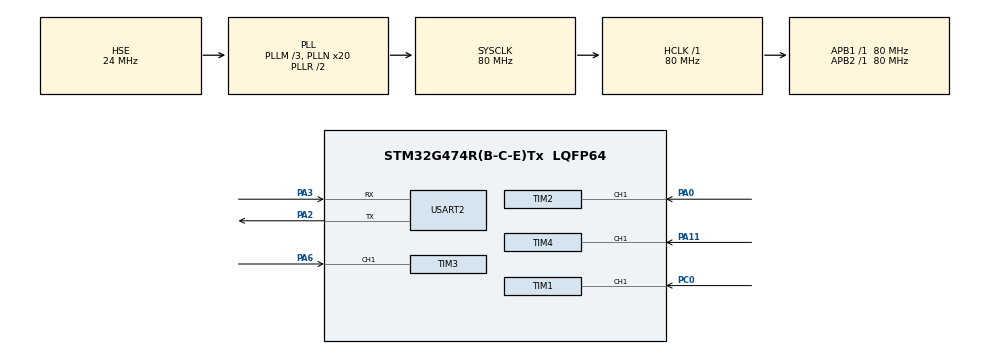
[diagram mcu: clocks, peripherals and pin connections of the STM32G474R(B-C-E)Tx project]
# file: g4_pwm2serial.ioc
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Mcu.Family=STM32G4
Mcu.Name=STM32G474R(B-C-E)Tx
Mcu.Package=LQFP64
NVIC.PriorityGroup=NVIC_PRIORITYGROUP_4
NVIC.TIM1_CC_IRQn=true\:0\:0\:false\:false\:true\:true\:true\:true
NVIC.TIM2_IRQn=true\:0\:0\:false\:false\:true\:true\:true\:true
NVIC.TIM3_IRQn=true\:0\:0\:false\:false\:true\:true\:true\:true
NVIC.TIM4_IRQn=true\:0\:0\:false\:false\:true\:true\:true\:true
PA0.Signal=S_TIM2_CH1
PA11.Signal=S_TIM4_CH1
PA2.Mode=Asynchronous
PA2.Signal=USART2_TX
PA3.Mode=Asynchronous
PA3.Signal=USART2_RX
PA6.Signal=S_TIM3_CH1
PC0.Signal=S_TIM1_CH1
PF0-OSC_IN.GPIO_Label=RCC_OSC_IN
PF0-OSC_IN.Mode=HSE-External-Oscillator
PF0-OSC_IN.Signal=RCC_OSC_IN
PF1-OSC_OUT.GPIO_Label=RCC_OSC_OUT
PF1-OSC_OUT.Mode=HSE-External-Oscillator
PF1-OSC_OUT.Signal=RCC_OSC_OUT
ProjectManager.HeapSize=0x200
ProjectManager.StackSize=0x400
ProjectManager.TargetToolchain=STM32CubeIDE
RCC.ADC12Freq_Value=80000000
RCC.ADC345Freq_Value=80000000
RCC.AHBFreq_Value=80000000
RCC.APB1Freq_Value=80000000
RCC.APB1TimFreq_Value=80000000
RCC.APB2Freq_Value=80000000
RCC.APB2TimFreq_Value=80000000
RCC.CortexFreq_Value=80000000
RCC.EXTERNAL_CLOCK_VALUE=12288000
RCC.HCLKFreq_Value=80000000
RCC.HSE_VALUE=24000000
RCC.HSI48_VALUE=48000000
RCC.HSI_VALUE=16000000
RCC.LSE_VALUE=32768
RCC.PLLM=RCC_PLLM_DIV3
RCC.PLLN=20
RCC.PLLSourceVirtual=RCC_PLLSOURCE_HSE
RCC.RTCClockSelection=RCC_RTCCLKSOURCE_LSE
RCC.SYSCLKFreq_VALUE=80000000
RCC.SYSCLKSource=RCC_SYSCLKSOURCE_PLLCLK
RCC.USBFreq_Value=80000000
RCC.VCOOutputFreq_Value=160000000
SH.S_TIM1_CH1.0=TIM1_CH1,PWM_Input_1
SH.S_TIM2_CH1.0=TIM2_CH1,PWM_Input_1
SH.S_TIM3_CH1.0=TIM3_CH1,PWM_Input_1
SH.S_TIM4_CH1.0=TIM4_CH1,PWM_Input_1
TIM1.AutoReloadPreload=TIM_AUTORELOAD_PRELOAD_ENABLE
TIM1.Prescaler=80 - 1
TIM2.AutoReloadPreload=TIM_AUTORELOAD_PRELOAD_ENABLE
TIM2.Prescaler=80 - 1
TIM3.AutoReloadPreload=TIM_AUTORELOAD_PRELOAD_ENABLE
TIM3.Prescaler=80 - 1
TIM4.AutoReloadPreload=TIM_AUTORELOAD_PRELOAD_ENABLE
TIM4.Prescaler=80 - 1
USART2.VirtualMode-Asynchronous=VM_ASYNC
VP_SYS_VS_DBSignals.Mode=DisableDeadBatterySignals
VP_TIM2_VS_ClockSourceINT.Mode=Internal
VP_TIM3_VS_ClockSourceINT.Mode=Internal
VP_TIM4_VS_ClockSourceINT.Mode=Internal
board=NUCLEO-G474RE

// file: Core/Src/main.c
/* USER CODE BEGIN Header */
/**
  ******************************************************************************
  * @file           : main.c
  * @brief          : Main program body
  ******************************************************************************
  * @attention
  *
  * Copyright (c) 2026 STMicroelectronics.
  * All rights reserved.
  *
  * This software is licensed under terms that can be found in the LICENSE file
  * in the root directory of this software component.
  * If no LICENSE file comes with this software, it is provided AS-IS.
  *
  ******************************************************************************
  */
/* USER CODE END Header */
#include "main.h"

TIM_HandleTypeDef htim1;
TIM_HandleTypeDef htim2;
TIM_HandleTypeDef htim3;
TIM_HandleTypeDef htim4;

UART_HandleTypeDef huart2;

/* USER CODE BEGIN PV */

volatile uint16_t pwm_in[4] = {0};
volatile uint8_t capture_flags = 0;
uint16_t tx_buffer[4] = {0};

/* USER CODE END PV */

void SystemClock_Config(void);
static void MX_GPIO_Init(void);
static void MX_TIM1_Init(void);
static void MX_TIM2_Init(void);
static void MX_TIM3_Init(void);
static void MX_TIM4_Init(void);
static void MX_USART2_UART_Init(void);

/* USER CODE BEGIN 0 */

void HAL_TIM_IC_CaptureCallback(TIM_HandleTypeDef *htim)
{
    if (htim->Instance == TIM1) {
        if (htim->Channel == HAL_TIM_ACTIVE_CHANNEL_1) {
            pwm_in[0] = HAL_TIM_ReadCapturedValue(htim, TIM_CHANNEL_2);
            capture_flags |= (1 << 0);
        }
    }
	else if (htim->Instance == TIM2){
        if (htim->Channel == HAL_TIM_ACTIVE_CHANNEL_1) {
            pwm_in[1] = HAL_TIM_ReadCapturedValue(htim, TIM_CHANNEL_2);
            capture_flags |= (1 << 1);
        }
    }
	else if (htim->Instance == TIM3){
        if (htim->Channel == HAL_TIM_ACTIVE_CHANNEL_1) {
            pwm_in[2] = HAL_TIM_ReadCapturedValue(htim, TIM_CHANNEL_2);
            capture_flags |= (1 << 2);
        }
    }
	else if (htim->Instance == TIM4){
        if (htim->Channel == HAL_TIM_ACTIVE_CHANNEL_1) {
            pwm_in[3] = HAL_TIM_ReadCapturedValue(htim, TIM_CHANNEL_2);
            capture_flags |= (1 << 3);
        }
    }
}

/* USER CODE END 0 */

int main(void)
{

  /* MCU Configuration--------------------------------------------------------*/

  /* Reset of all peripherals, Initializes the Flash interface and the Systick. */
  HAL_Init();

  /* Configure the system clock */
  SystemClock_Config();

  /* Initialize all configured peripherals */
  MX_GPIO_Init();
  MX_TIM1_Init();
  MX_TIM2_Init();
  MX_TIM3_Init();
  MX_TIM4_Init();
  MX_USART2_UART_Init();
  /* USER CODE BEGIN 2 */

	// Define our 2-byte Magic Number (Sync Header)
	uint8_t magic[2] = {0xAA, 0xBB};
	HAL_TIM_IC_Start_IT(&htim1, TIM_CHANNEL_1);
	HAL_TIM_IC_Start(&htim1, TIM_CHANNEL_2);
	HAL_TIM_IC_Start_IT(&htim2, TIM_CHANNEL_1);
	HAL_TIM_IC_Start(&htim2, TIM_CHANNEL_2);
	HAL_TIM_IC_Start_IT(&htim3, TIM_CHANNEL_1);
	HAL_TIM_IC_Start(&htim3, TIM_CHANNEL_2);
	HAL_TIM_IC_Start_IT(&htim4, TIM_CHANNEL_1);
	HAL_TIM_IC_Start(&htim4, TIM_CHANNEL_2);

  /* USER CODE END 2 */

  /* Infinite loop */
  /* USER CODE BEGIN WHILE */
  while (1)
  {
	if (capture_flags == 0x0F)
	{
		tx_buffer[0] = pwm_in[0];
		tx_buffer[1] = pwm_in[1];
		tx_buffer[2] = pwm_in[2];
		tx_buffer[3] = pwm_in[3];

		capture_flags = 0;

		// 1. Send the Header
		HAL_UART_Transmit(&huart2, magic, 2, HAL_MAX_DELAY);

		for (int i = 0; i < 8; i++)
			HAL_UART_Transmit(&huart2, (uint8_t*)tx_buffer + i, 1, HAL_MAX_DELAY);
	}
    /* USER CODE END WHILE */

  }
}

void SystemClock_Config(void)
{
  RCC_OscInitTypeDef RCC_OscInitStruct = {0};
  RCC_ClkInitTypeDef RCC_ClkInitStruct = {0};

  /** Configure the main internal regulator output voltage
  */
  HAL_PWREx_ControlVoltageScaling(PWR_REGULATOR_VOLTAGE_SCALE1);

  /** Initializes the RCC Oscillators according to the specified parameters
  * in the RCC_OscInitTypeDef structure.
  */
  RCC_OscInitStruct.OscillatorType = RCC_OSCILLATORTYPE_HSE;
  RCC_OscInitStruct.HSEState = RCC_HSE_ON;
  RCC_OscInitStruct.PLL.PLLState = RCC_PLL_ON;
  RCC_OscInitStruct.PLL.PLLSource = RCC_PLLSOURCE_HSE;
  RCC_OscInitStruct.PLL.PLLM = RCC_PLLM_DIV3;
  RCC_OscInitStruct.PLL.PLLN = 20;
  RCC_OscInitStruct.PLL.PLLP = RCC_PLLP_DIV2;
  RCC_OscInitStruct.PLL.PLLQ = RCC_PLLQ_DIV2;
  RCC_OscInitStruct.PLL.PLLR = RCC_PLLR_DIV2;
  if (HAL_RCC_OscConfig(&RCC_OscInitStruct) != HAL_OK)
  {
    Error_Handler();
  }

  /** Initializes the CPU, AHB and APB buses clocks
  */
  RCC_ClkInitStruct.ClockType = RCC_CLOCKTYPE_HCLK|RCC_CLOCKTYPE_SYSCLK
                              |RCC_CLOCKTYPE_PCLK1|RCC_CLOCKTYPE_PCLK2;
  RCC_ClkInitStruct.SYSCLKSource = RCC_SYSCLKSOURCE_PLLCLK;
  RCC_ClkInitStruct.AHBCLKDivider = RCC_SYSCLK_DIV1;
  RCC_ClkInitStruct.APB1CLKDivider = RCC_HCLK_DIV1;
  RCC_ClkInitStruct.APB2CLKDivider = RCC_HCLK_DIV1;

  if (HAL_RCC_ClockConfig(&RCC_ClkInitStruct, FLASH_LATENCY_2) != HAL_OK)
  {
    Error_Handler();
  }
}

static void MX_TIM1_Init(void)
{

  TIM_SlaveConfigTypeDef sSlaveConfig = {0};
  TIM_IC_InitTypeDef sConfigIC = {0};
  TIM_MasterConfigTypeDef sMasterConfig = {0};

  htim1.Instance = TIM1;
  htim1.Init.Prescaler = 80 - 1;
  htim1.Init.CounterMode = TIM_COUNTERMODE_UP;
  htim1.Init.Period = 65535;
  htim1.Init.ClockDivision = TIM_CLOCKDIVISION_DIV1;
  htim1.Init.RepetitionCounter = 0;
  htim1.Init.AutoReloadPreload = TIM_AUTORELOAD_PRELOAD_ENABLE;
  if (HAL_TIM_IC_Init(&htim1) != HAL_OK)
  {
    Error_Handler();
  }
  sSlaveConfig.SlaveMode = TIM_SLAVEMODE_RESET;
  sSlaveConfig.InputTrigger = TIM_TS_TI1FP1;
  sSlaveConfig.TriggerPolarity = TIM_INPUTCHANNELPOLARITY_RISING;
  sSlaveConfig.TriggerPrescaler = TIM_ICPSC_DIV1;
  sSlaveConfig.TriggerFilter = 0;
  if (HAL_TIM_SlaveConfigSynchro(&htim1, &sSlaveConfig) != HAL_OK)
  {
    Error_Handler();
  }
  sConfigIC.ICPolarity = TIM_INPUTCHANNELPOLARITY_RISING;
  sConfigIC.ICSelection = TIM_ICSELECTION_DIRECTTI;
  sConfigIC.ICPrescaler = TIM_ICPSC_DIV1;
  sConfigIC.ICFilter = 0;
  if (HAL_TIM_IC_ConfigChannel(&htim1, &sConfigIC, TIM_CHANNEL_1) != HAL_OK)
  {
    Error_Handler();
  }
  sConfigIC.ICPolarity = TIM_INPUTCHANNELPOLARITY_FALLING;
  sConfigIC.ICSelection = TIM_ICSELECTION_INDIRECTTI;
  if (HAL_TIM_IC_ConfigChannel(&htim1, &sConfigIC, TIM_CHANNEL_2) != HAL_OK)
  {
    Error_Handler();
  }
  sMasterConfig.MasterOutputTrigger = TIM_TRGO_RESET;
  sMasterConfig.MasterOutputTrigger2 = TIM_TRGO2_RESET;
  sMasterConfig.MasterSlaveMode = TIM_MASTERSLAVEMODE_DISABLE;
  if (HAL_TIMEx_MasterConfigSynchronization(&htim1, &sMasterConfig) != HAL_OK)
  {
    Error_Handler();
  }

}

static void MX_TIM2_Init(void)
{

  TIM_ClockConfigTypeDef sClockSourceConfig = {0};
  TIM_SlaveConfigTypeDef sSlaveConfig = {0};
  TIM_IC_InitTypeDef sConfigIC = {0};
  TIM_MasterConfigTypeDef sMasterConfig = {0};

  htim2.Instance = TIM2;
  htim2.Init.Prescaler = 80 - 1;
  htim2.Init.CounterMode = TIM_COUNTERMODE_UP;
  htim2.Init.Period = 4294967295;
  htim2.Init.ClockDivision = TIM_CLOCKDIVISION_DIV1;
  htim2.Init.AutoReloadPreload = TIM_AUTORELOAD_PRELOAD_ENABLE;
  if (HAL_TIM_Base_Init(&htim2) != HAL_OK)
  {
    Error_Handler();
  }
  sClockSourceConfig.ClockSource = TIM_CLOCKSOURCE_INTERNAL;
  if (HAL_TIM_ConfigClockSource(&htim2, &sClockSourceConfig) != HAL_OK)
  {
    Error_Handler();
  }
  if (HAL_TIM_IC_Init(&htim2) != HAL_OK)
  {
    Error_Handler();
  }
  sSlaveConfig.SlaveMode = TIM_SLAVEMODE_RESET;
  sSlaveConfig.InputTrigger = TIM_TS_TI1FP1;
  sSlaveConfig.TriggerPolarity = TIM_INPUTCHANNELPOLARITY_RISING;
  sSlaveConfig.TriggerPrescaler = TIM_ICPSC_DIV1;
  sSlaveConfig.TriggerFilter = 0;
  if (HAL_TIM_SlaveConfigSynchro(&htim2, &sSlaveConfig) != HAL_OK)
  {
    Error_Handler();
  }
  sConfigIC.ICPolarity = TIM_INPUTCHANNELPOLARITY_RISING;
  sConfigIC.ICSelection = TIM_ICSELECTION_DIRECTTI;
  sConfigIC.ICPrescaler = TIM_ICPSC_DIV1;
  sConfigIC.ICFilter = 0;
  if (HAL_TIM_IC_ConfigChannel(&htim2, &sConfigIC, TIM_CHANNEL_1) != HAL_OK)
  {
    Error_Handler();
  }
  sConfigIC.ICPolarity = TIM_INPUTCHANNELPOLARITY_FALLING;
  sConfigIC.ICSelection = TIM_ICSELECTION_INDIRECTTI;
  if (HAL_TIM_IC_ConfigChannel(&htim2, &sConfigIC, TIM_CHANNEL_2) != HAL_OK)
  {
    Error_Handler();
  }
  sMasterConfig.MasterOutputTrigger = TIM_TRGO_RESET;
  sMasterConfig.MasterSlaveMode = TIM_MASTERSLAVEMODE_DISABLE;
  if (HAL_TIMEx_MasterConfigSynchronization(&htim2, &sMasterConfig) != HAL_OK)
  {
    Error_Handler();
  }

}

static void MX_TIM3_Init(void)
{

  TIM_ClockConfigTypeDef sClockSourceConfig = {0};
  TIM_SlaveConfigTypeDef sSlaveConfig = {0};
  TIM_IC_InitTypeDef sConfigIC = {0};
  TIM_MasterConfigTypeDef sMasterConfig = {0};

  htim3.Instance = TIM3;
  htim3.Init.Prescaler = 80 - 1;
  htim3.Init.CounterMode = TIM_COUNTERMODE_UP;
  htim3.Init.Period = 65535;
  htim3.Init.ClockDivision = TIM_CLOCKDIVISION_DIV1;
  htim3.Init.AutoReloadPreload = TIM_AUTORELOAD_PRELOAD_ENABLE;
  if (HAL_TIM_Base_Init(&htim3) != HAL_OK)
  {
    Error_Handler();
  }
  sClockSourceConfig.ClockSource = TIM_CLOCKSOURCE_INTERNAL;
  if (HAL_TIM_ConfigClockSource(&htim3, &sClockSourceConfig) != HAL_OK)
  {
    Error_Handler();
  }
  if (HAL_TIM_IC_Init(&htim3) != HAL_OK)
  {
    Error_Handler();
  }
  sSlaveConfig.SlaveMode = TIM_SLAVEMODE_RESET;
  sSlaveConfig.InputTrigger = TIM_TS_TI1FP1;
  sSlaveConfig.TriggerPolarity = TIM_INPUTCHANNELPOLARITY_RISING;
  sSlaveConfig.TriggerPrescaler = TIM_ICPSC_DIV1;
  sSlaveConfig.TriggerFilter = 0;
  if (HAL_TIM_SlaveConfigSynchro(&htim3, &sSlaveConfig) != HAL_OK)
  {
    Error_Handler();
  }
  sConfigIC.ICPolarity = TIM_INPUTCHANNELPOLARITY_RISING;
  sConfigIC.ICSelection = TIM_ICSELECTION_DIRECTTI;
  sConfigIC.ICPrescaler = TIM_ICPSC_DIV1;
  sConfigIC.ICFilter = 0;
  if (HAL_TIM_IC_ConfigChannel(&htim3, &sConfigIC, TIM_CHANNEL_1) != HAL_OK)
  {
    Error_Handler();
  }
  sConfigIC.ICPolarity = TIM_INPUTCHANNELPOLARITY_FALLING;
  sConfigIC.ICSelection = TIM_ICSELECTION_INDIRECTTI;
  if (HAL_TIM_IC_ConfigChannel(&htim3, &sConfigIC, TIM_CHANNEL_2) != HAL_OK)
  {
    Error_Handler();
  }
  sMasterConfig.MasterOutputTrigger = TIM_TRGO_RESET;
  sMasterConfig.MasterSlaveMode = TIM_MASTERSLAVEMODE_DISABLE;
  if (HAL_TIMEx_MasterConfigSynchronization(&htim3, &sMasterConfig) != HAL_OK)
  {
    Error_Handler();
  }

}

static void MX_TIM4_Init(void)
{

  TIM_ClockConfigTypeDef sClockSourceConfig = {0};
  TIM_SlaveConfigTypeDef sSlaveConfig = {0};
  TIM_IC_InitTypeDef sConfigIC = {0};
  TIM_MasterConfigTypeDef sMasterConfig = {0};

  htim4.Instance = TIM4;
  htim4.Init.Prescaler = 80 - 1;
  htim4.Init.CounterMode = TIM_COUNTERMODE_UP;
  htim4.Init.Period = 65535;
  htim4.Init.ClockDivision = TIM_CLOCKDIVISION_DIV1;
  htim4.Init.AutoReloadPreload = TIM_AUTORELOAD_PRELOAD_ENABLE;
  if (HAL_TIM_Base_Init(&htim4) != HAL_OK)
  {
    Error_Handler();
  }
  sClockSourceConfig.ClockSource = TIM_CLOCKSOURCE_INTERNAL;
  if (HAL_TIM_ConfigClockSource(&htim4, &sClockSourceConfig) != HAL_OK)
  {
    Error_Handler();
  }
  if (HAL_TIM_IC_Init(&htim4) != HAL_OK)
  {
    Error_Handler();
  }
  sSlaveConfig.SlaveMode = TIM_SLAVEMODE_RESET;
  sSlaveConfig.InputTrigger = TIM_TS_TI1FP1;
  sSlaveConfig.TriggerPolarity = TIM_INPUTCHANNELPOLARITY_RISING;
  sSlaveConfig.TriggerPrescaler = TIM_ICPSC_DIV1;
  sSlaveConfig.TriggerFilter = 0;
  if (HAL_TIM_SlaveConfigSynchro(&htim4, &sSlaveConfig) != HAL_OK)
  {
    Error_Handler();
  }
  sConfigIC.ICPolarity = TIM_INPUTCHANNELPOLARITY_RISING;
  sConfigIC.ICSelection = TIM_ICSELECTION_DIRECTTI;
  sConfigIC.ICPrescaler = TIM_ICPSC_DIV1;
  sConfigIC.ICFilter = 0;
  if (HAL_TIM_IC_ConfigChannel(&htim4, &sConfigIC, TIM_CHANNEL_1) != HAL_OK)
  {
    Error_Handler();
  }
  sConfigIC.ICPolarity = TIM_INPUTCHANNELPOLARITY_FALLING;
  sConfigIC.ICSelection = TIM_ICSELECTION_INDIRECTTI;
  if (HAL_TIM_IC_ConfigChannel(&htim4, &sConfigIC, TIM_CHANNEL_2) != HAL_OK)
  {
    Error_Handler();
  }
  sMasterConfig.MasterOutputTrigger = TIM_TRGO_RESET;
  sMasterConfig.MasterSlaveMode = TIM_MASTERSLAVEMODE_DISABLE;
  if (HAL_TIMEx_MasterConfigSynchronization(&htim4, &sMasterConfig) != HAL_OK)
  {
    Error_Handler();
  }

}

static void MX_USART2_UART_Init(void)
{

  huart2.Instance = USART2;
  huart2.Init.BaudRate = 115200;
  huart2.Init.WordLength = UART_WORDLENGTH_8B;
  huart2.Init.StopBits = UART_STOPBITS_1;
  huart2.Init.Parity = UART_PARITY_NONE;
  huart2.Init.Mode = UART_MODE_TX_RX;
  huart2.Init.HwFlowCtl = UART_HWCONTROL_NONE;
  huart2.Init.OverSampling = UART_OVERSAMPLING_16;
  huart2.Init.OneBitSampling = UART_ONE_BIT_SAMPLE_DISABLE;
  huart2.Init.ClockPrescaler = UART_PRESCALER_DIV1;
  huart2.AdvancedInit.AdvFeatureInit = UART_ADVFEATURE_NO_INIT;
  if (HAL_UART_Init(&huart2) != HAL_OK)
  {
    Error_Handler();
  }
  if (HAL_UARTEx_SetTxFifoThreshold(&huart2, UART_TXFIFO_THRESHOLD_1_8) != HAL_OK)
  {
    Error_Handler();
  }
  if (HAL_UARTEx_SetRxFifoThreshold(&huart2, UART_RXFIFO_THRESHOLD_1_8) != HAL_OK)
  {
    Error_Handler();
  }
  if (HAL_UARTEx_DisableFifoMode(&huart2) != HAL_OK)
  {
    Error_Handler();
  }

}

static void MX_GPIO_Init(void)
{

  /* GPIO Ports Clock Enable */
  __HAL_RCC_GPIOF_CLK_ENABLE();
  __HAL_RCC_GPIOC_CLK_ENABLE();
  __HAL_RCC_GPIOA_CLK_ENABLE();

}

void Error_Handler(void)
{
  __disable_irq();
  while (1)
  {
  }
}
